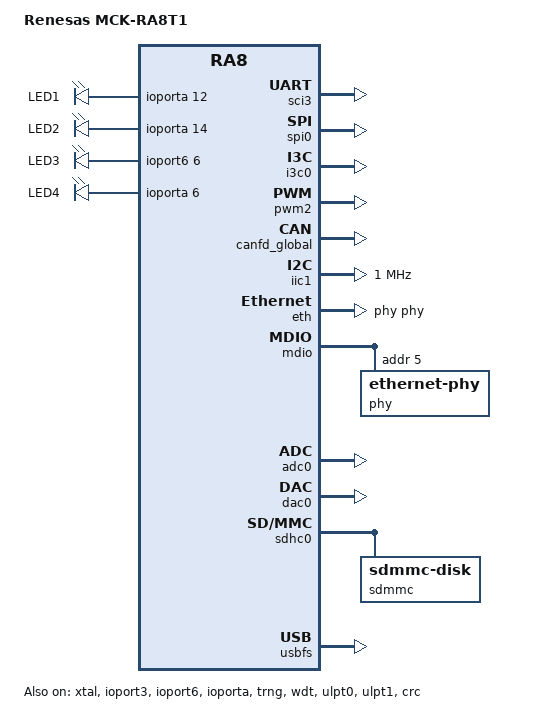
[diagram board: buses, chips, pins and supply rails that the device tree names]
/*
 * Copyright (c) 2024-2025 Renesas Electronics Corporation
 * SPDX-License-Identifier: Apache-2.0
 */

/dts-v1/;

#include <renesas/ra/ra8/r7fa8t1ahecbd.dtsi>
#include <dt-bindings/gpio/gpio.h>
#include <zephyr/dt-bindings/adc/adc.h>
#include "mck_ra8t1-pinctrl.dtsi"

/ {
	model = "Renesas MCK-RA8T1";
	compatible = "renesas,ra8t1", "renesas,ra8";

	chosen {
		zephyr,sram = &sram0;
		zephyr,flash = &flash0;
		zephyr,console = &uart3;
		zephyr,shell-uart = &uart3;
		zephyr,entropy = &trng;
		zephyr,flash-controller = &flash1;
		zephyr,canbus = &canfd1;
		zephyr,crc = &crc;
	};

	leds {
		compatible = "gpio-leds";

		led1: led1 {
			gpios = <&ioporta 12 GPIO_ACTIVE_HIGH>;
			label = "LED1";
		};

		led2: led2 {
			gpios = <&ioporta 14 GPIO_ACTIVE_HIGH>;
			label = "LED2";
		};

		led3: led3 {
			gpios = <&ioport6 6 GPIO_ACTIVE_HIGH>;
			label = "LED3";
		};

		led4: led4 {
			gpios = <&ioporta 6 GPIO_ACTIVE_HIGH>;
			label = "LED4";
		};
	};

	aliases {
		led0 = &led1;
		sdhc0 = &sdhc0;
		watchdog0 = &wdt;
	};
};

&xtal {
	clock-frequency = <DT_FREQ_M(24)>;
	mosel = <0>;
	#clock-cells = <0>;
	status = "okay";
};

&subclk {
	status = "okay";
};

&pll {
	status = "okay";

	pllp {
		status = "okay";
	};

	pllq {
		div = <4>;
		freq = <DT_FREQ_M(240)>;
		status = "okay";
	};

	pllr {
		status = "okay";
	};
};

&sciclk {
	clocks = <&pllp>;
	div = <4>;
	status = "okay";
};

&canfdclk {
	clocks = <&pllp>;
	div = <6>;
	status = "okay";
};

&uclk {
	clocks = <&pllq>;
	div = <5>;
	status = "okay";
};

&i3cclk {
	clocks = <&pllp>;
	div = <3>;
	status = "okay";
};

&ioport3 {
	status = "okay";
};

&ioport6 {
	status = "okay";
};

&ioporta {
	status = "okay";
};

&sci3 {
	pinctrl-0 = <&sci3_default>;
	pinctrl-names = "default";
	status = "okay";

	uart3: uart {
		current-speed = <115200>;
		status = "okay";
	};
};

&sci9 {
	pinctrl-0 = <&sci9_default>;
	pinctrl-names = "default";

	i2c9: i2c {
		sda-output-delay = <300>;
		noise-filter-clock-select = <1>;
		bit-rate-modulation;
	};
};

&trng {
	status = "okay";
};

&spi0 {
	pinctrl-0 = <&spi0_default>;
	pinctrl-names = "default";
	status = "okay";
};

&i3c0 {
	i2c-scl-hz = <DT_FREQ_K(400)>;
	i3c-scl-hz = <DT_FREQ_M(4)>;
	pinctrl-0 = <&i3c0_default>;
	pinctrl-names = "default";
	interrupts = <60 1>, <61 1>, <62 1>, <63 1>, <64 1>, <65 1>;
	interrupt-names = "resp", "rx", "tx", "rcv", "ibi", "eei";
	status = "okay";
};

&flash1 {
	partitions {
		compatible = "fixed-partitions";
		#address-cells = <1>;
		#size-cells = <1>;

		storage_partition: partition@0 {
			label = "storage";
			reg = <0X0 DT_SIZE_K(12)>;
		};
	};
};

&pwm2 {
	pinctrl-0 = <&pwm2_default>;
	interrupts = <40 1>, <41 1>;
	interrupt-names = "gtioca", "overflow";
	pinctrl-names = "default";
	status = "okay";
};

&canfd_global {
	status = "okay";

	canfd1 {
		pinctrl-0 = <&canfd1_default>;
		pinctrl-names = "default";
		rx-max-filters = <16>;
		status = "okay";
	};
};

&iic1 {
	#address-cells = <1>;
	#size-cells = <0>;
	clock-frequency = <DT_FREQ_M(1)>;
	pinctrl-0 = <&iic1_default>;
	pinctrl-names = "default";
};

&eth {
	local-mac-address = [74 90 50 6D 81 75];
	status = "okay";
	phy-handle = <&phy>;
};

&mdio {
	pinctrl-0 = <&ether_default>;
	pinctrl-names = "default";
	status = "okay";

	phy: ethernet-phy@5 {
		compatible = "ethernet-phy";
		reg = <5>;
		status = "okay";
	};
};

&adc0 {
	status = "okay";
	pinctrl-0 = <&adc0_default>;
	pinctrl-names = "default";
	average-count = <4>;
};

&dac0 {
	pinctrl-0 = <&dac0_default>;
	pinctrl-names = "default";
	status = "okay";
};

&sdhc0 {
	compatible = "renesas,ra-sdhc";
	pinctrl-0 = <&sdhc0_default>;
	enable-gpios = <&ioport3 11 GPIO_ACTIVE_HIGH>;
	pinctrl-names = "default";
	status = "okay";

	sdmmc {
		compatible = "zephyr,sdmmc-disk";
		disk-name = "SD";
		status = "okay";
	};
};

&usbfs {
	pinctrl-0 = <&usbfs_default>;
	pinctrl-names = "default";
	maximum-speed = "full-speed";
	status = "okay";

	zephyr_udc0: udc {
		status = "okay";
	};
};

&wdt {
	status = "okay";
};

&ulpt0 {
	status = "okay";

	timer {
		status = "okay";
	};
};

&ulpt1 {
	status = "okay";

	timer {
		status = "okay";
	};
};

&crc {
	status = "okay";
};
